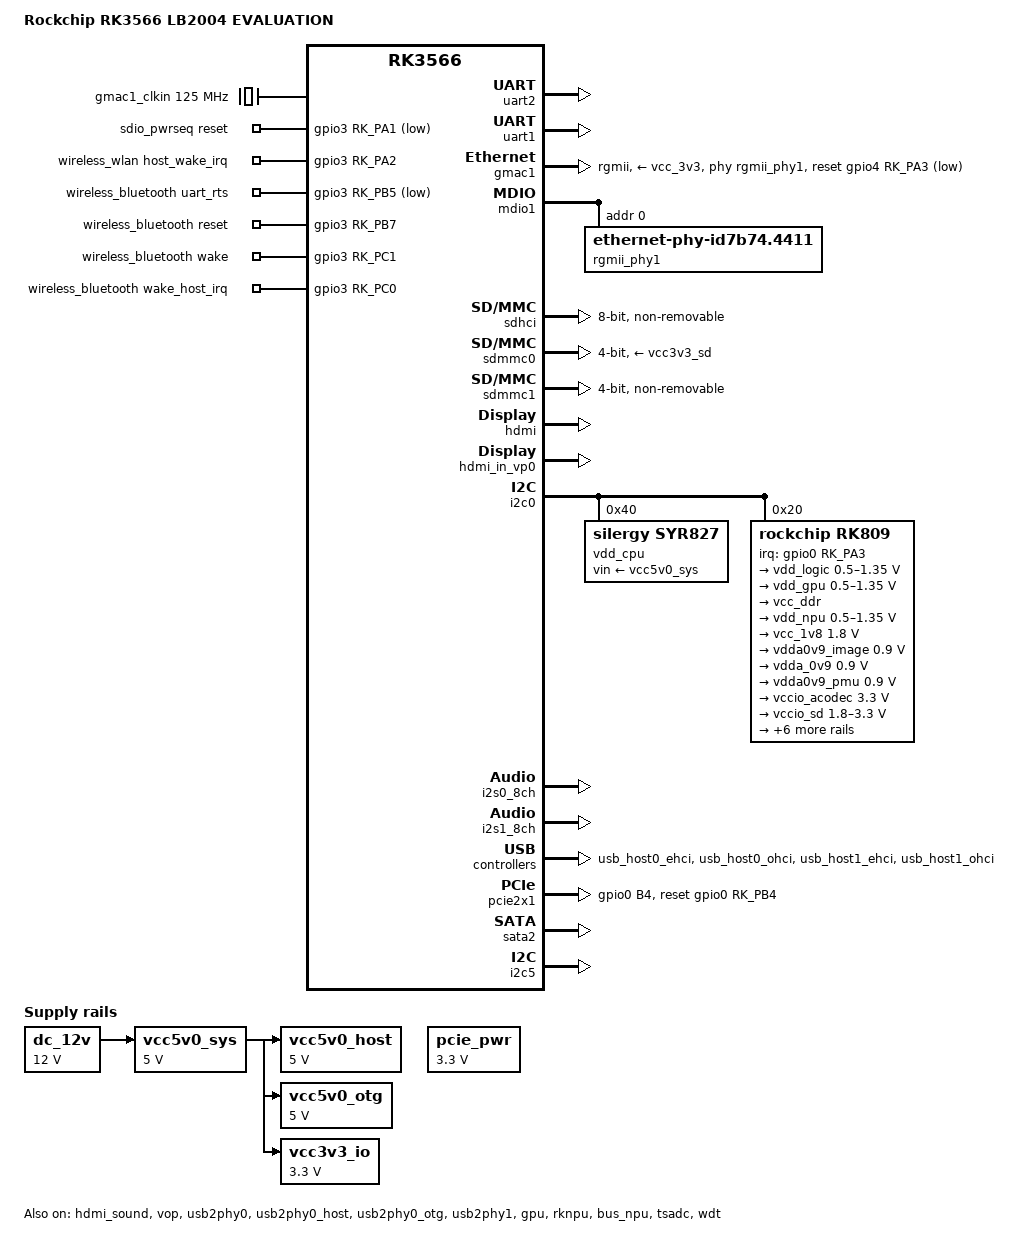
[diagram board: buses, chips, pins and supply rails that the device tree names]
// SPDX-License-Identifier: (GPL-2.0+ OR MIT)
/*
 * Device Tree for RK3566 LB2004
 * 
 * Extracted from Android DTB (rk3566-evb2-lp4x-v10 base)
 * with adjustments for current Debian kernel (6.1.118)
 */

/dts-v1/;

#include <dt-bindings/gpio/gpio.h>
#include <dt-bindings/input/input.h>
#include <dt-bindings/pinctrl/rockchip.h>
#include <dt-bindings/soc/rockchip,vop2.h>
#include "rk3566.dtsi"

/ {
	model = "Rockchip RK3566 LB2004 EVALUATION";
	compatible = "rockchip,rk3566-evb2-lp4x-v10", "rockchip,rk3566";

	aliases {
		ethernet0 = &gmac1;
		mmc0 = &sdhci;
		mmc1 = &sdmmc1;
		mmc2 = &sdmmc0;
		serial2 = &uart2;
	};

	chosen: chosen {
		stdout-path = "serial2:1500000n8";
	};

	reserved_memory: reserved-memory {
		#address-cells = <2>;
		#size-cells = <2>;
		ranges;

		/* Same as Android: CMA for graphics/multimedia */
		linux,cma {
			compatible = "shared-dma-pool";
			reusable;
			size = <0x0 0x800000>;
			alloc-ranges = <0x0 0x10000000 0x0 0x800000>;
			linux,cma-default;
		};

		/* 128MB DMA pool for NPU */
		rknpu_reserved: rknpu {
			compatible = "shared-dma-pool";
			inactive;
			reusable;
			size = <0x0 0x08000000>;
			alignment = <0x0 0x1000>;
		};

		/* ramoops for crash logs */
		ramoops: ramoops@110000 {
			compatible = "ramoops";
			reg = <0x0 0x110000 0x0 0xf0000>;
			record-size = <0x20000>;
			console-size = <0x80000>;
			ftrace-size = <0x00000>;
			pmsg-size = <0x50000>;
		};
	};
	gmac1_clkin: external-gmac1-clock {
		compatible = "fixed-clock";
		clock-frequency = <125000000>;
		clock-output-names = "gmac1_clkin";
		#clock-cells = <0>;
	};

	/* Power regulators */
	dc_12v: dc-12v {
		compatible = "regulator-fixed";
		regulator-name = "dc_12v";
		regulator-always-on;
		regulator-boot-on;
		regulator-min-microvolt = <12000000>;
		regulator-max-microvolt = <12000000>;
	};

	vcc5v0_sys: vcc5v0-sys {
		compatible = "regulator-fixed";
		regulator-name = "vcc5v0_sys";
		regulator-always-on;
		regulator-boot-on;
		regulator-min-microvolt = <5000000>;
		regulator-max-microvolt = <5000000>;
		vin-supply = <&dc_12v>;
	};

	vcc5v0_host: vcc5v0-host {
		compatible = "regulator-fixed";
		regulator-name = "vcc5v0_host";
		regulator-always-on;
		regulator-boot-on;
		regulator-min-microvolt = <5000000>;
		regulator-max-microvolt = <5000000>;
		vin-supply = <&vcc5v0_sys>;
	};

	vcc5v0_otg: vcc5v0-otg {
		compatible = "regulator-fixed";
		regulator-name = "vcc5v0_otg";
		regulator-always-on;
		regulator-boot-on;
		regulator-min-microvolt = <5000000>;
		regulator-max-microvolt = <5000000>;
		vin-supply = <&vcc5v0_sys>;
	};

	pcie_pwr: pcie-pwr {
		compatible = "regulator-fixed";
		regulator-name = "pcie_pwr";
		regulator-always-on;
		regulator-boot-on;
		regulator-min-microvolt = <3300000>;
		regulator-max-microvolt = <3300000>;
	};

	/* Audio */
	rk809_sound: rk809-sound {
		compatible = "simple-audio-card";
		simple-audio-card,format = "i2s";
		simple-audio-card,mclk-fs = <256>;
		simple-audio-card,name = "rockchip,rk809-codec";

		simple-audio-card,cpu {
			sound-dai = <&i2s1_8ch>;
		};
		simple-audio-card,codec {
			sound-dai = <&rk809>;
		};
	};

	/* SDIO WiFi power sequencing */
	sdio_pwrseq: sdio-pwrseq {
		compatible = "mmc-pwrseq-simple";
		clocks = <&rk809 1>;
		clock-names = "ext_clock";
		pinctrl-names = "default";
		pinctrl-0 = <&wifi_enable_h>;
		reset-gpios = <&gpio3 RK_PA1 GPIO_ACTIVE_LOW>;
	};

	/* Wireless */
	wireless_wlan: wireless-wlan {
		compatible = "wlan-platdata";
		rockchip,grf = <&grf>;
		wifi_chip_type = "ap6212";
		sdio_vref = <1800>;
		WIFI,host_wake_irq = <&gpio3 RK_PA2 GPIO_ACTIVE_HIGH>;
		status = "okay";
	};

	wireless_bluetooth: wireless-bluetooth {
		compatible = "bluetooth-platdata";
		clocks = <&rk809 1>;
		clock-names = "ext_clock";
		uart_rts_gpios = <&gpio3 RK_PB5 GPIO_ACTIVE_LOW>;
		pinctrl-names = "default", "rts_gpio";
		pinctrl-0 = <&uart1m0_rtsn>;
		pinctrl-1 = <&bt_rst_gpio>;
		BT,reset_gpio = <&gpio3 RK_PB7 GPIO_ACTIVE_HIGH>;
		BT,wake_gpio = <&gpio3 RK_PC1 GPIO_ACTIVE_HIGH>;
		BT,wake_host_irq = <&gpio3 RK_PC0 GPIO_ACTIVE_HIGH>;
		status = "okay";
	};
};

/* Serial console */
&uart2 {
	status = "okay";
};

/* Bluetooth UART */
&uart1 {
	pinctrl-names = "default";
	pinctrl-0 = <&uart1m0_xfer &uart1m0_ctsn>;
	status = "okay";
};

/* GMAC1 Ethernet */
&gmac1 {
	phy-mode = "rgmii";
	clock_in_out = "input";

	assigned-clocks = <&cru SCLK_GMAC1_RX_TX>, <&cru SCLK_GMAC1>;
	assigned-clock-parents = <&cru SCLK_GMAC1_RGMII_SPEED>, <&gmac1_clkin>;

	snps,reset-gpio = <&gpio4 RK_PA3 GPIO_ACTIVE_LOW>;
	snps,reset-active-low;
	snps,reset-delays-us = <0 20000 100000>;

	tx_delay = <0x4f>;
	rx_delay = <0x2d>;

	phy-handle = <&rgmii_phy1>;
	phy-supply = <&vcc_3v3>;
	status = "okay";
};

&mdio1 {
	rgmii_phy1: ethernet-phy@0 {
		compatible = "ethernet-phy-id7b74.4411", "ethernet-phy-ieee802.3-c22";
		reg = <0>;
	};
};

/* eMMC */
&sdhci {
	bus-width = <8>;
	max-frequency = <200000000>;
	non-removable;
	mmc-hs200-1_8v;
	rockchip,txclk-tapnum = <0xc>;
	status = "okay";
};

/* SD card slot */
&sdmmc0 {
	max-frequency = <150000000>;
	supports-sd;
	bus-width = <4>;
	cap-mmc-highspeed;
	cap-sd-highspeed;
	disable-wp;
	sd-uhs-sdr104;
	vqmmc-supply = <&vccio_sd>;
	vmmc-supply = <&vcc3v3_sd>;
	status = "okay";
};

/* SDIO WiFi */
&sdmmc1 {
	max-frequency = <150000000>;
	supports-sdio;
	bus-width = <4>;
	cap-sd-highspeed;
	cap-sdio-irq;
	keep-power-in-suspend;
	mmc-pwrseq = <&sdio_pwrseq>;
	non-removable;
	pinctrl-names = "default";
	pinctrl-0 = <&sdmmc1_bus4 &sdmmc1_cmd &sdmmc1_clk>;
	sd-uhs-sdr104;
	status = "okay";
};

/* HDMI */
&hdmi {
	avdd-0v9-supply = <&vdda0v9_image>;
	avdd-1v8-supply = <&vcca1v8_image>;
	status = "okay";
};

&hdmi_in_vp0 {
	status = "okay";
};

/* hdmi_out not needed in BSP; vp0_out_hdmi already wired in rk356x.dtsi */

&hdmi_sound {
	status = "okay";
};

/* VOP (Video Output Processor) */
&vop {
	assigned-clocks = <&cru DCLK_VOP0>, <&cru DCLK_VOP1>;
	assigned-clock-parents = <&pmucru PLL_HPLL>, <&cru PLL_VPLL>;
	status = "okay";
};

&vop_mmu {
	status = "okay";
};

/* vp0_out_hdmi already wired in rk356x.dtsi */

/* I2C0: PMIC */
&i2c0 {
	status = "okay";

	vdd_cpu: syr827@40 {
		compatible = "silergy,syr827";
		reg = <0x40>;
		fcs,suspend-voltage-selector = <1>;
		regulator-name = "vdd_cpu";
		regulator-min-microvolt = <712500>;
		regulator-max-microvolt = <1390000>;
		regulator-ramp-delay = <2300>;
		regulator-always-on;
		regulator-boot-on;
		vin-supply = <&vcc5v0_sys>;

		regulator-state-mem {
			regulator-on-in-suspend;
		};
	};

	rk809: pmic@20 {
		compatible = "rockchip,rk809";
		reg = <0x20>;
		interrupt-parent = <&gpio0>;
		interrupts = <RK_PA3 IRQ_TYPE_LEVEL_LOW>;
		pinctrl-names = "default", "pmic-sleep",
				"pmic-power-off", "pmic-reset";
		pinctrl-0 = <&pmic_int_l>;
		rockchip,system-power-controller;
		wakeup-source;
		#clock-cells = <1>;
		clock-output-names = "rk808-clkout1", "rk808-clkout2";

		/* rk809 internal codec */
		codec {
			mic-in-differential;
		};

		/* lb2004 has no battery/charger; stub nodes keep the rk808 MFD
		 * from warning "rk817-battery: Failed to locate of_node".
		 * mfd-core skips children whose status is "disabled" silently. */
		battery {
			compatible = "rk817,battery";
			status = "disabled";
		};

		charger {
			compatible = "rk817,charger";
			status = "disabled";
		};

		regulators {
			vdd_logic: DCDC_REG1 {
				regulator-always-on;
				regulator-boot-on;
				regulator-min-microvolt = <500000>;
				regulator-max-microvolt = <1350000>;
				regulator-name = "vdd_logic";
				regulator-state-mem {
					regulator-off-in-suspend;
				};
			};

			vdd_gpu: DCDC_REG2 {
				regulator-always-on;
				regulator-boot-on;
				regulator-min-microvolt = <500000>;
				regulator-max-microvolt = <1350000>;
				regulator-name = "vdd_gpu";
				/* factory Android set regulator-init-microvolt=<900000>
				 * + initial-mode=<2>; the init-microvolt property is
				 * NOT parsed by this tree's rk808 driver (only pwm-
				 * regulator.c), so only the mode is ported. */
				regulator-initial-mode = <2>;
				regulator-state-mem {
					regulator-off-in-suspend;
				};
			};

			vcc_ddr: DCDC_REG3 {
				regulator-always-on;
				regulator-boot-on;
				regulator-name = "vcc_ddr";
				regulator-state-mem {
					regulator-on-in-suspend;
				};
			};

			vdd_npu: DCDC_REG4 {
				regulator-always-on;
				regulator-boot-on;
				regulator-min-microvolt = <500000>;
				regulator-max-microvolt = <1350000>;
				regulator-name = "vdd_npu";
				/* same as vdd_gpu: init-microvolt not parsed by the
				 * rk808 driver; mode 2 = AUTO_PWM (factory value). */
				regulator-initial-mode = <2>;
				regulator-state-mem {
					regulator-off-in-suspend;
				};
			};

			vcc_1v8: DCDC_REG5 {
				regulator-always-on;
				regulator-boot-on;
				regulator-min-microvolt = <1800000>;
				regulator-max-microvolt = <1800000>;
				regulator-name = "vcc_1v8";
				regulator-state-mem {
					regulator-off-in-suspend;
				};
			};

			vdda0v9_image: LDO_REG1 {
				regulator-always-on;
				regulator-boot-on;
				regulator-min-microvolt = <900000>;
				regulator-max-microvolt = <900000>;
				regulator-name = "vdda0v9_image";
				regulator-state-mem {
					regulator-off-in-suspend;
				};
			};

			vdda_0v9: LDO_REG2 {
				regulator-always-on;
				regulator-boot-on;
				regulator-min-microvolt = <900000>;
				regulator-max-microvolt = <900000>;
				regulator-name = "vdda_0v9";
				regulator-state-mem {
					regulator-off-in-suspend;
				};
			};

			vdda0v9_pmu: LDO_REG3 {
				regulator-always-on;
				regulator-boot-on;
				regulator-min-microvolt = <900000>;
				regulator-max-microvolt = <900000>;
				regulator-name = "vdda0v9_pmu";
				regulator-state-mem {
					regulator-on-in-suspend;
					regulator-suspend-microvolt = <900000>;
				};
			};

			vccio_acodec: LDO_REG4 {
				regulator-always-on;
				regulator-boot-on;
				regulator-min-microvolt = <3300000>;
				regulator-max-microvolt = <3300000>;
				regulator-name = "vccio_acodec";
				regulator-state-mem {
					regulator-off-in-suspend;
				};
			};

			vccio_sd: LDO_REG5 {
				regulator-always-on;
				regulator-boot-on;
				regulator-min-microvolt = <1800000>;
				regulator-max-microvolt = <3300000>;
				regulator-name = "vccio_sd";
				regulator-state-mem {
					regulator-off-in-suspend;
				};
			};

			vcc3v3_pmu: LDO_REG6 {
				regulator-always-on;
				regulator-boot-on;
				regulator-min-microvolt = <3300000>;
				regulator-max-microvolt = <3300000>;
				regulator-name = "vcc3v3_pmu";
				regulator-state-mem {
					regulator-on-in-suspend;
					regulator-suspend-microvolt = <3300000>;
				};
			};

			vcca_1v8: LDO_REG7 {
				regulator-always-on;
				regulator-boot-on;
				regulator-min-microvolt = <1800000>;
				regulator-max-microvolt = <1800000>;
				regulator-name = "vcca_1v8";
				regulator-state-mem {
					regulator-off-in-suspend;
				};
			};

			vcca1v8_pmu: LDO_REG8 {
				regulator-always-on;
				regulator-boot-on;
				regulator-min-microvolt = <1800000>;
				regulator-max-microvolt = <1800000>;
				regulator-name = "vcca1v8_pmu";
				regulator-state-mem {
					regulator-on-in-suspend;
					regulator-suspend-microvolt = <1800000>;
				};
			};

			vcca1v8_image: LDO_REG9 {
				regulator-always-on;
				regulator-boot-on;
				regulator-min-microvolt = <1800000>;
				regulator-max-microvolt = <1800000>;
				regulator-name = "vcca1v8_image";
				regulator-state-mem {
					regulator-off-in-suspend;
				};
			};

			vcc_3v3: SWITCH_REG1 {
				regulator-always-on;
				regulator-boot-on;
				regulator-name = "vcc_3v3";
				regulator-state-mem {
					regulator-off-in-suspend;
				};
			};

			vcc3v3_sd: SWITCH_REG2 {
				regulator-always-on;
				regulator-boot-on;
				regulator-name = "vcc3v3_sd";
				regulator-state-mem {
					regulator-off-in-suspend;
				};
			};
		};
	};
};

/* I2S0 for HDMI audio */
&i2s0_8ch {
	status = "okay";
};

/* I2S1 for internal audio codec */
&i2s1_8ch {
	status = "okay";
};

/* USB */
&usb2phy0 {
	status = "okay";
};

&usb2phy0_host {
	status = "okay";
};

&usb2phy0_otg {
	status = "okay";
};

&usb_host0_ehci {
	status = "okay";
};

&usb_host0_ohci {
	status = "okay";
};

&usb_host1_ehci {
	status = "okay";
};

&usb_host1_ohci {
	status = "okay";
};

&usb2phy1 {
	status = "okay";
};

/* u2phy1_host/otg handled inside &usb2phy1 node */

/* GPU */
&gpu {
	status = "okay";
};

/* NPU */
&rknpu {
	memory-region = <&rknpu_reserved>;
	status = "okay";
};

/* Bus NPU */
&bus_npu {
	rockchip,busfreq-policy = "clkfreq";
	status = "okay";
};

/* PCIe */
&pcie2x1 {
	pinctrl-names = "default";
	pinctrl-0 = <&pcie_reset_h>;
	reset-gpios = <&gpio0 RK_PB4 GPIO_ACTIVE_HIGH>;
	status = "okay";
};

/* pcie30phy/pcie3x2 not available on rk3566, removed */

/* SATA */
&sata2 {
	status = "okay";
};

/* TSADC */
&tsadc {
	status = "okay";
};

/* Watchdog */
&wdt {
	status = "okay";
};

/* I2C5 (empty, available for expansion) */
&i2c5 {
	status = "okay";
};

/* SPI */
&spi1 {
	status = "disabled";
};

&spi2 {
	status = "disabled";
};

/* CAN */
&can0 {
	status = "disabled";
};

&can1 {
	status = "disabled";
};

&can2 {
	status = "disabled";
};

/* PWM (all disabled in Android, keep as-is) */
&pwm0 { status = "disabled"; };
&pwm1 { status = "disabled"; };
&pwm2 { status = "disabled"; };
&pwm3 { status = "disabled"; };
&pwm4 { status = "disabled"; };
&pwm5 { status = "disabled"; };
&pwm6 { status = "disabled"; };
&pwm7 { status = "disabled"; };
&pwm8 { status = "disabled"; };
&pwm9 { status = "disabled"; };
&pwm10 { status = "disabled"; };
&pwm11 { status = "disabled"; };
&pwm12 { status = "disabled"; };
&pwm13 { status = "disabled"; };
&pwm14 { status = "disabled"; };
&pwm15 { status = "disabled"; };
/* pwm16_32k not available on rk3566, removed */

/* adc_keys/gpio_keys not defined in BSP rk356x.dtsi, removed */

/* Pinctrl */
&pinctrl {
	pmic {
		pmic_int_l: pmic-int-l {
			rockchip,pins = <0 RK_PA3 RK_FUNC_GPIO &pcfg_pull_up>;
		};
	};

	wireless-wlan {
		wifi_enable_h: wifi-enable-h {
			rockchip,pins = <3 RK_PA1 RK_FUNC_GPIO &pcfg_pull_none>;
		};
		wifi_host_wake_irq: wifi-host-wake-irq {
			rockchip,pins = <3 RK_PA2 RK_FUNC_GPIO &pcfg_pull_down>;
		};
	};

	wireless-bluetooth {
		bt_rst_gpio: bt-rst-gpio {
			rockchip,pins = <3 RK_PB7 RK_FUNC_GPIO &pcfg_pull_none>;
		};
	};

	gmac1 {
		gmac1m0_miim: gmac1m0-miim {
			rockchip,pins = <3 RK_PB0 4 &pcfg_pull_none>,
					<3 RK_PB1 4 &pcfg_pull_none>;
		};
		gmac1m0_tx_bus2: gmac1m0-tx-bus2 {
			rockchip,pins = <3 RK_PB4 4 &pcfg_pull_none>,
					<3 RK_PB5 4 &pcfg_pull_none>,
					<3 RK_PB6 4 &pcfg_pull_none>;
		};
		gmac1m0_rx_bus2: gmac1m0-rx-bus2 {
			rockchip,pins = <3 RK_PA6 4 &pcfg_pull_none>,
					<3 RK_PA7 4 &pcfg_pull_none>,
					<3 RK_PB2 4 &pcfg_pull_none>;
		};
		gmac1m0_rgmii_clk: gmac1m0-rgmii-clk {
			rockchip,pins = <3 RK_PA5 4 &pcfg_pull_none>,
					<3 RK_PB3 4 &pcfg_pull_none>;
		};
		gmac1m0_clkinout: gmac1m0-clkinout {
			rockchip,pins = <3 RK_PA4 4 &pcfg_pull_none>;
		};
		gmac1m0_rgmii_bus: gmac1m0-rgmii-bus {
			rockchip,pins = <3 RK_PA2 4 &pcfg_pull_none>,
					<3 RK_PA3 4 &pcfg_pull_none>,
					<3 RK_PA0 4 &pcfg_pull_none>,
					<3 RK_PA1 4 &pcfg_pull_none>;
		};
	};

	pcie {
		pcie_reset_h: pcie-reset-h {
			rockchip,pins = <0 RK_PB4 RK_FUNC_GPIO &pcfg_pull_none>;
		};
	};
};

/* 3.3V rail alias - the io-domain driver cannot read the voltage of
 * RK809 SWITCH_REG1 (vcc_3v3), which made the whole io-domains probe
 * fail (-22) and left ALL VCCIO voltages unset (USB/WiFi/GMAC IO dead).
 * This fixed regulator models the same always-on 3.3V rail with a
 * readable voltage. */
/ {
	vcc3v3_io: vcc3v3-io {
		compatible = "regulator-fixed";
		regulator-name = "vcc3v3_io";
		regulator-always-on;
		regulator-boot-on;
		regulator-min-microvolt = <3300000>;
		regulator-max-microvolt = <3300000>;
		vin-supply = <&vcc5v0_sys>;
	};
};

/*
 * lb2004 io-domains: only "rockchip,rk3568-pmu-io-voltage-domain" (pmugrf)
 * has a driver match entry; the main-GRF io-domains node stays disabled
 * (factory puts ALL domains in the pmugrf node too). Supply mapping is
 * taken from the factory Android DTB phandles, except vccio5/7: they map
 * to the readable fixed regulator vcc3v3_io above instead of vcc_3v3.
 *   pmuio1/2 = vcc3v3_pmu, vccio1 = vccio_acodec, vccio3 = vccio_sd,
 *   vccio4/6 = vcc_1v8, vccio5/7 = vcc3v3_io, vccio2 = unset (factory same)
 */
&pmu_io_domains {
	status = "okay";
	pmuio1-supply = <&vcc3v3_pmu>;
	pmuio2-supply = <&vcc3v3_pmu>;
	vccio1-supply = <&vccio_acodec>;
	vccio3-supply = <&vccio_sd>;
	vccio4-supply = <&vcc_1v8>;
	vccio5-supply = <&vcc3v3_io>;
	vccio6-supply = <&vcc_1v8>;
	vccio7-supply = <&vcc3v3_io>;
};

/*
 * lb2004 OPP overrides: flatten CPU/GPU/NPU voltage tables to the values
 * measured in the factory Android DTB (one step lower than the BSP tables
 * in rk356x.dtsi, which target RK3568 boards). L0-L3 tiering and
 * opp-supported-hw gating are deleted to match the factory flat tables.
 */
&cpu0_opp_table {
	opp-408000000 {
		/delete-property/ opp-supported-hw;
		opp-microvolt = <825000 825000 1150000>;
	};
	opp-600000000 {
		/delete-property/ opp-supported-hw;
		opp-microvolt = <825000 825000 1150000>;
	};
	opp-816000000 {
		/delete-property/ opp-supported-hw;
		opp-microvolt = <825000 825000 1150000>;
	};
	opp-1104000000 {
		/delete-property/ opp-supported-hw;
		opp-microvolt = <825000 825000 1150000>;
		/delete-property/ opp-microvolt-L0;
		/delete-property/ opp-microvolt-L1;
		/delete-property/ opp-microvolt-L2;
		/delete-property/ opp-microvolt-L3;
	};
	opp-1416000000 {
		/delete-property/ opp-supported-hw;
		opp-microvolt = <925000 925000 1150000>;
		/delete-property/ opp-microvolt-L0;
		/delete-property/ opp-microvolt-L1;
		/delete-property/ opp-microvolt-L2;
		/delete-property/ opp-microvolt-L3;
	};
	opp-1608000000 {
		/delete-property/ opp-supported-hw;
		opp-microvolt = <1000000 1000000 1150000>;
		/delete-property/ opp-microvolt-L0;
		/delete-property/ opp-microvolt-L1;
		/delete-property/ opp-microvolt-L2;
		/delete-property/ opp-microvolt-L3;
	};
	opp-1800000000 {
		/delete-property/ opp-supported-hw;
		opp-microvolt = <1050000 1050000 1150000>;
		/delete-property/ opp-microvolt-L0;
		/delete-property/ opp-microvolt-L1;
		/delete-property/ opp-microvolt-L2;
		/delete-property/ opp-microvolt-L3;
	};
};

&gpu_opp_table {
	opp-200000000 {
		opp-microvolt = <825000>;
	};
	opp-300000000 {
		opp-microvolt = <825000>;
	};
	opp-400000000 {
		opp-microvolt = <825000>;
	};
	opp-600000000 {
		opp-microvolt = <825000>;
		/delete-property/ opp-microvolt-L0;
		/delete-property/ opp-microvolt-L1;
		/delete-property/ opp-microvolt-L2;
		/delete-property/ opp-microvolt-L3;
	};
	opp-700000000 {
		opp-microvolt = <900000>;
		/delete-property/ opp-microvolt-L0;
		/delete-property/ opp-microvolt-L1;
		/delete-property/ opp-microvolt-L2;
		/delete-property/ opp-microvolt-L3;
	};
	opp-800000000 {
		opp-microvolt = <950000>;
		/delete-property/ opp-microvolt-L0;
		/delete-property/ opp-microvolt-L1;
		/delete-property/ opp-microvolt-L2;
		/delete-property/ opp-microvolt-L3;
	};
};

&npu_opp_table {
	opp-200000000 {
		/delete-property/ opp-supported-hw;
		opp-microvolt = <825000 825000 1000000>;
	};
	opp-300000000 {
		/delete-property/ opp-supported-hw;
		opp-microvolt = <825000 825000 1000000>;
	};
	opp-400000000 {
		/delete-property/ opp-supported-hw;
		opp-microvolt = <825000 825000 1000000>;
	};
	opp-600000000 {
		/delete-property/ opp-supported-hw;
		opp-microvolt = <825000 825000 1000000>;
	};
	opp-700000000 {
		/delete-property/ opp-supported-hw;
		opp-microvolt = <850000 850000 1000000>;
		/delete-property/ opp-microvolt-L0;
		/delete-property/ opp-microvolt-L1;
		/delete-property/ opp-microvolt-L2;
		/delete-property/ opp-microvolt-L3;
	};
	opp-800000000 {
		/delete-property/ opp-supported-hw;
		opp-microvolt = <875000 875000 1000000>;
		/delete-property/ opp-microvolt-L0;
		/delete-property/ opp-microvolt-L1;
		/delete-property/ opp-microvolt-L2;
		/delete-property/ opp-microvolt-L3;
	};
	opp-900000000 {
		/delete-property/ opp-supported-hw;
		opp-microvolt = <925000 925000 1000000>;
		/delete-property/ opp-microvolt-L0;
		/delete-property/ opp-microvolt-L1;
		/delete-property/ opp-microvolt-L2;
		/delete-property/ opp-microvolt-L3;
	};
	/* opp-1000000000: stays disabled (factory same) */
};
